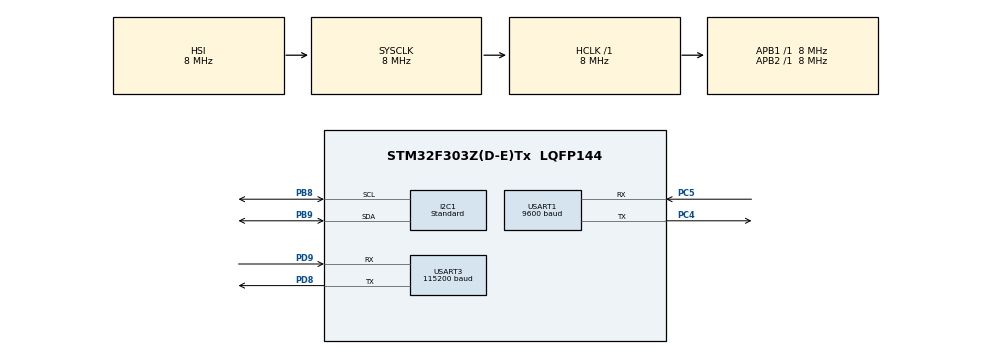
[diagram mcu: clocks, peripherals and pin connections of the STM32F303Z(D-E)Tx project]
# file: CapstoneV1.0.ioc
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I2C1.I2C_Speed_Mode=I2C_Standard
I2C1.Timing=0x00201D2B
Mcu.Family=STM32F3
Mcu.Name=STM32F303Z(D-E)Tx
Mcu.Package=LQFP144
NVIC.PriorityGroup=NVIC_PRIORITYGROUP_4
PA13.Mode=Serial_Wire
PA13.Signal=SYS_JTMS-SWDIO
PA14.Mode=Serial_Wire
PA14.Signal=SYS_JTCK-SWCLK
PB8.Mode=I2C
PB8.Signal=I2C1_SCL
PB9.Mode=I2C
PB9.Signal=I2C1_SDA
PC4.Mode=Asynchronous
PC4.Signal=USART1_TX
PC5.Mode=Asynchronous
PC5.Signal=USART1_RX
PD8.Mode=Asynchronous
PD8.Signal=USART3_TX
PD9.Mode=Asynchronous
PD9.Signal=USART3_RX
PF0-OSC_IN.Mode=HSE-External-Oscillator
PF0-OSC_IN.Signal=RCC_OSC_IN
PF1-OSC_OUT.Mode=HSE-External-Oscillator
PF1-OSC_OUT.Signal=RCC_OSC_OUT
ProjectManager.HeapSize=0x200
ProjectManager.StackSize=0x400
ProjectManager.TargetToolchain=STM32CubeIDE
RCC.AHBFreq_Value=8000000
RCC.APB1Freq_Value=8000000
RCC.APB2Freq_Value=8000000
RCC.CortexFreq_Value=8000000
RCC.HSE_VALUE=8000000
RCC.HSI_VALUE=8000000
RCC.LSE_VALUE=32768
RCC.SYSCLKFreq_VALUE=8000000
USART1.BaudRate=9600
USART1.VirtualMode-Asynchronous=VM_ASYNC
USART3.BaudRate=115200
USART3.VirtualMode-Asynchronous=VM_ASYNC
board=custom

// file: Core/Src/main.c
/* USER CODE BEGIN Header */
/**
  ******************************************************************************
  * @file           : main.c
  * @brief          : Main program body
  ******************************************************************************
  * @attention
  *
  * Copyright (c) 2026 STMicroelectronics.
  * All rights reserved.
  *
  * This software is licensed under terms that can be found in the LICENSE file
  * in the root directory of this software component.
  * If no LICENSE file comes with this software, it is provided AS-IS.
  *
  ******************************************************************************
  */
/* USER CODE END Header */
#include "main.h"

/* USER CODE BEGIN Includes */
#include "pzem004t.h"
#include "lcd_i2c.h"
#include <stdio.h>
/* USER CODE END Includes */

I2C_HandleTypeDef hi2c1;

UART_HandleTypeDef huart1;
UART_HandleTypeDef huart3;

/* USER CODE BEGIN PV */
PZEM_Data_t pzem_data;
PZEM_Status_t pzem_status;
uint32_t pzem_tick = 0;
uint8_t lcd_ok = 0;
/* USER CODE END PV */

void SystemClock_Config(void);
static void MX_GPIO_Init(void);
static void MX_I2C1_Init(void);
static void MX_USART1_UART_Init(void);
static void MX_USART3_UART_Init(void);

/* USER CODE BEGIN 0 */
int __io_putchar(int ch)
{
    HAL_UART_Transmit(&huart3, (uint8_t *)&ch, 1, HAL_MAX_DELAY);
    return ch;
}
/* USER CODE END 0 */

int main(void)
{

  /* MCU Configuration--------------------------------------------------------*/

  /* Reset of all peripherals, Initializes the Flash interface and the Systick. */
  HAL_Init();

  /* Configure the system clock */
  SystemClock_Config();

  /* Initialize all configured peripherals */
  MX_GPIO_Init();
  MX_I2C1_Init();
  MX_USART1_UART_Init();
  MX_USART3_UART_Init();
  /* USER CODE BEGIN 2 */
  printf("System start\r\n");

  if (LCD_Init() == HAL_OK)
  {
      lcd_ok = 1;
      printf("LCD init OK\r\n");

      LCD_Clear();
      LCD_PrintAt(0, 0, "Hello");
      LCD_PrintAt(1, 0, "STM32 + LCD");
      HAL_Delay(1000);
      LCD_Clear();
  }
  else
  {
      lcd_ok = 0;
      printf("LCD init FAIL\r\n");
  }
  /* USER CODE END 2 */

  /* Infinite loop */
  /* USER CODE BEGIN WHILE */
  while (1)
  {
      if (HAL_GetTick() - pzem_tick >= 1000)
      {
          pzem_tick = HAL_GetTick();

          pzem_status = PZEM_ReadMeasurements(&huart1, PZEM_DEFAULT_ADDR, &pzem_data);

          if (pzem_status == PZEM_OK)
          {
              printf("V=%.1f V, I=%.3f A, P=%.1f W, E=%.3f kWh, F=%.1f Hz, PF=%.2f\r\n",
                     pzem_data.voltage,
                     pzem_data.current,
                     pzem_data.power,
                     pzem_data.energy,
                     pzem_data.frequency,
                     pzem_data.pf);

              if (lcd_ok)
              {
                  char line1[21];
                  char line2[21];
                  char line3[21];

                  snprintf(line1, sizeof(line1), "V:%6.1fV I:%5.2fA",
                           pzem_data.voltage, pzem_data.current);

                  snprintf(line2, sizeof(line2), "P:%6.1fW",
                           pzem_data.power);

                  snprintf(line3, sizeof(line3), "PF:%4.2f F:%5.1fHz",
                           pzem_data.pf, pzem_data.frequency);

                  LCD_PrintAt(0, 0, "                    ");
                  LCD_PrintAt(1, 0, "                    ");
                  LCD_PrintAt(2, 0, "                    ");

                  LCD_PrintAt(0, 0, line1);
                  LCD_PrintAt(1, 0, line2);
                  LCD_PrintAt(2, 0, line3);
              }
          }
          else
          {
              printf("PZEM read error: %d\r\n", pzem_status);

              if (lcd_ok)
              {
                  LCD_PrintAt(0, 0, "PZEM Error          ");
                  LCD_PrintAt(1, 0, "                    ");
                  LCD_PrintAt(2, 0, "                    ");
                  LCD_PrintAt(3, 0, "                    ");
              }
          }
      }

    /* USER CODE END WHILE */

  }
}

void SystemClock_Config(void)
{
  RCC_OscInitTypeDef RCC_OscInitStruct = {0};
  RCC_ClkInitTypeDef RCC_ClkInitStruct = {0};
  RCC_PeriphCLKInitTypeDef PeriphClkInit = {0};

  /** Initializes the RCC Oscillators according to the specified parameters
  * in the RCC_OscInitTypeDef structure.
  */
  RCC_OscInitStruct.OscillatorType = RCC_OSCILLATORTYPE_HSI;
  RCC_OscInitStruct.HSIState = RCC_HSI_ON;
  RCC_OscInitStruct.HSICalibrationValue = RCC_HSICALIBRATION_DEFAULT;
  RCC_OscInitStruct.PLL.PLLState = RCC_PLL_NONE;
  if (HAL_RCC_OscConfig(&RCC_OscInitStruct) != HAL_OK)
  {
    Error_Handler();
  }

  /** Initializes the CPU, AHB and APB buses clocks
  */
  RCC_ClkInitStruct.ClockType = RCC_CLOCKTYPE_HCLK|RCC_CLOCKTYPE_SYSCLK
                              |RCC_CLOCKTYPE_PCLK1|RCC_CLOCKTYPE_PCLK2;
  RCC_ClkInitStruct.SYSCLKSource = RCC_SYSCLKSOURCE_HSI;
  RCC_ClkInitStruct.AHBCLKDivider = RCC_SYSCLK_DIV1;
  RCC_ClkInitStruct.APB1CLKDivider = RCC_HCLK_DIV1;
  RCC_ClkInitStruct.APB2CLKDivider = RCC_HCLK_DIV1;

  if (HAL_RCC_ClockConfig(&RCC_ClkInitStruct, FLASH_LATENCY_0) != HAL_OK)
  {
    Error_Handler();
  }
  PeriphClkInit.PeriphClockSelection = RCC_PERIPHCLK_USART1|RCC_PERIPHCLK_USART3
                              |RCC_PERIPHCLK_I2C1;
  PeriphClkInit.Usart1ClockSelection = RCC_USART1CLKSOURCE_PCLK2;
  PeriphClkInit.Usart3ClockSelection = RCC_USART3CLKSOURCE_PCLK1;
  PeriphClkInit.I2c1ClockSelection = RCC_I2C1CLKSOURCE_HSI;
  if (HAL_RCCEx_PeriphCLKConfig(&PeriphClkInit) != HAL_OK)
  {
    Error_Handler();
  }
}

static void MX_I2C1_Init(void)
{

  hi2c1.Instance = I2C1;
  hi2c1.Init.Timing = 0x00201D2B;
  hi2c1.Init.OwnAddress1 = 0;
  hi2c1.Init.AddressingMode = I2C_ADDRESSINGMODE_7BIT;
  hi2c1.Init.DualAddressMode = I2C_DUALADDRESS_DISABLE;
  hi2c1.Init.OwnAddress2 = 0;
  hi2c1.Init.OwnAddress2Masks = I2C_OA2_NOMASK;
  hi2c1.Init.GeneralCallMode = I2C_GENERALCALL_DISABLE;
  hi2c1.Init.NoStretchMode = I2C_NOSTRETCH_DISABLE;
  if (HAL_I2C_Init(&hi2c1) != HAL_OK)
  {
    Error_Handler();
  }

  /** Configure Analogue filter
  */
  if (HAL_I2CEx_ConfigAnalogFilter(&hi2c1, I2C_ANALOGFILTER_ENABLE) != HAL_OK)
  {
    Error_Handler();
  }

  /** Configure Digital filter
  */
  if (HAL_I2CEx_ConfigDigitalFilter(&hi2c1, 0) != HAL_OK)
  {
    Error_Handler();
  }

}

static void MX_USART1_UART_Init(void)
{

  huart1.Instance = USART1;
  huart1.Init.BaudRate = 9600;
  huart1.Init.WordLength = UART_WORDLENGTH_8B;
  huart1.Init.StopBits = UART_STOPBITS_1;
  huart1.Init.Parity = UART_PARITY_NONE;
  huart1.Init.Mode = UART_MODE_TX_RX;
  huart1.Init.HwFlowCtl = UART_HWCONTROL_NONE;
  huart1.Init.OverSampling = UART_OVERSAMPLING_16;
  huart1.Init.OneBitSampling = UART_ONE_BIT_SAMPLE_DISABLE;
  huart1.AdvancedInit.AdvFeatureInit = UART_ADVFEATURE_NO_INIT;
  if (HAL_UART_Init(&huart1) != HAL_OK)
  {
    Error_Handler();
  }

}

static void MX_USART3_UART_Init(void)
{

  huart3.Instance = USART3;
  huart3.Init.BaudRate = 115200;
  huart3.Init.WordLength = UART_WORDLENGTH_8B;
  huart3.Init.StopBits = UART_STOPBITS_1;
  huart3.Init.Parity = UART_PARITY_NONE;
  huart3.Init.Mode = UART_MODE_TX_RX;
  huart3.Init.HwFlowCtl = UART_HWCONTROL_NONE;
  huart3.Init.OverSampling = UART_OVERSAMPLING_16;
  huart3.Init.OneBitSampling = UART_ONE_BIT_SAMPLE_DISABLE;
  huart3.AdvancedInit.AdvFeatureInit = UART_ADVFEATURE_NO_INIT;
  if (HAL_UART_Init(&huart3) != HAL_OK)
  {
    Error_Handler();
  }

}

static void MX_GPIO_Init(void)
{

  /* GPIO Ports Clock Enable */
  __HAL_RCC_GPIOF_CLK_ENABLE();
  __HAL_RCC_GPIOC_CLK_ENABLE();
  __HAL_RCC_GPIOD_CLK_ENABLE();
  __HAL_RCC_GPIOA_CLK_ENABLE();
  __HAL_RCC_GPIOB_CLK_ENABLE();

}

void Error_Handler(void)
{
  __disable_irq();
  while (1)
  {
  }
}
